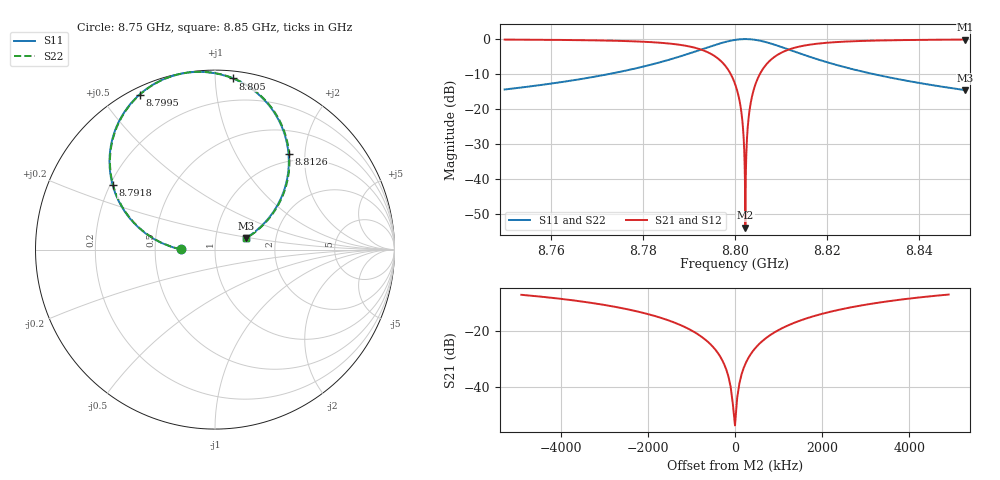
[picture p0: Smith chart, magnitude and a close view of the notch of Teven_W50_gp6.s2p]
! Sonnet Data File
! From: emgraph Version : 16.52
! From Project: transmon_trial
! Data is De-embedded
! Data File Written: 10/20/2017 15:56:55
!< HDATE 10/20/2017 14:38:19
!< MDATE 10/20/2017 14:38:19
!< PARAMS
!< Lj = 15.24
!< Gap = 6.0
!< Width = 50.0
!< Airgap = 30.0
!< Pwidth = 2000.0
!< END PARAMS
# GHZ S MA R 51.00000
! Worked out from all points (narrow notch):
!   2001 points, 8.75 GHz to 8.85 GHz, reference 51 ohm
!   highest |S21| = -0.15 dB at 8.85 GHz (marker M1); lowest = -54.0 dB at 8.8023 GHz (marker M2)
!   notch at M2: 53.4 dB deep, 823 kHz wide at half that depth
!   lowest |S11| = -14.6 dB at 8.85 GHz (marker M3), VSWR 1.46, Z = 71.6 + j9.69 ohm
!   |S11| at or under -10 dB: start of sweep to 8.772756 GHz; 8.829909 GHz to end of sweep
!   |S22| runs from -14.6 to 0.0 dB; largest |S21 - S12| = 0
!   S11 on the Smith chart (normalised r, x): 8.75 GHz: 0.68, +0.00; 8.7918 GHz: 0.21, +0.28; 8.7995 GHz: 0.03, +0.63; 8.805 GHz: 0.05, +1.11; 8.8126 GHz: 0.87, +1.68; 8.85 GHz: 1.40, +0.19
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8.75  0.1893 179.6  0.9819 -90.4  0.9819 -90.4  0.1893 179.5
!< P1 F=8.75 Eeff=(6.43963157 -3.1356e-5) Z0=(50.4015082 1.05002e-4) R=0.0 C=0.0
!< P2 F=8.75 Eeff=(6.43963157 -3.1356e-5) Z0=(50.4015082 1.05002e-4) R=0.0 C=0.0
8.7667  0.2682 174.8  0.9632 -95.2  0.9632 -95.2  0.2682 174.7
8.78335  0.4573 163.0  0.8889 -107.0  0.8889 -107.0  0.4573 162.8
8.79175  0.6756 147.7  0.7362 -122.4  0.7362 -122.4  0.6756 147.4
8.79655  0.8585 130.9  0.5102 -139.1  0.5102 -139.1  0.8585 130.6
8.79955  0.9608 115.9  0.271 -153.9  0.271 -153.9  0.9608 115.6
8.8  0.9718 113.4  0.2284 -156.3  0.2284 -156.3  0.9718 113.1
8.8012  0.9922 106.4  0.1086 -162.8  0.1086 -162.8  0.9922 106.1
8.80155  0.9955 104.3  0.07246 -164.4  0.07246 -164.4  0.9955 104.0
8.8019  0.9975 102.2  0.03599 -165.0  0.03599 -165.0  0.9975 101.9
8.80225  0.9981 100.1  0.001988 -58.8  0.001988 -58.8  0.9981 99.8
8.8026  0.9974 98.0  0.03746 5.0  0.03746 5.0  0.9974 97.7
8.80295  0.9954 95.9  0.07401 4.3  0.07401 4.3  0.9954 95.6
8.8034  0.9909 93.3  0.1206 2.2  0.1206 2.2  0.9909 92.9
8.8041  0.9797 89.1  0.1915 -1.6  0.1915 -1.6  0.9797 88.8
8.805  0.9586 84.0  0.2785 -6.6  0.2785 -6.6  0.9586 83.6
8.80795  0.855 69.1  0.5159 -21.3  0.5159 -21.3  0.855 68.7
8.8126  0.6718 52.4  0.7396 -37.9  0.7396 -37.9  0.6718 52.0
8.8167  0.5434 43.1  0.8388 -47.2  0.8388 -47.2  0.5433 42.6
8.82365  0.398 33.6  0.917 -56.7  0.917 -56.7  0.398 33.1
8.83335  0.2832 26.5  0.9589 -63.8  0.9589 -63.8  0.2832 25.9
8.85  0.1854 20.6  0.9826 -69.7  0.9826 -69.7  0.1854 19.9
